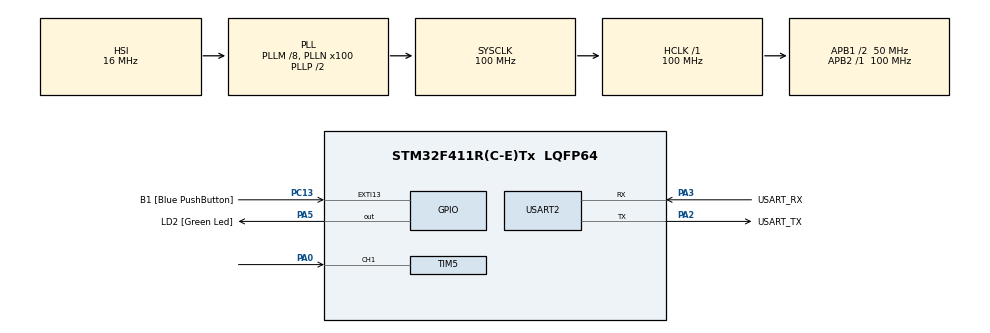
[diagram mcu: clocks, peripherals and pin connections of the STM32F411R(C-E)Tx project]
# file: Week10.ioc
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Mcu.Family=STM32F4
PC15-OSC32_OUT.Mode=LSE-External-Oscillator
VP_TIM5_VS_ClockSourceINT.Mode=Internal
RCC.CortexFreq_Value=100000000
PC13-ANTI_TAMP.GPIO_Label=B1 [Blue PushButton]
PA14.GPIO_Label=TCK
PH1\ -\ OSC_OUT.Mode=HSE-External-Clock-Source
RCC.APB1CLKDivider=RCC_HCLK_DIV2
PC14-OSC32_IN.Signal=RCC_OSC32_IN
NVIC.USART2_IRQn=true\:0\:0\:false\:false\:true\:true\:true
RCC.SYSCLKSource=RCC_SYSCLKSOURCE_PLLCLK
ProjectManager.StackSize=0x400
PA0-WKUP.Signal=S_TIM5_CH1
PA13.Signal=SYS_JTMS-SWDIO
PA3.Mode=Asynchronous
PH0\ -\ OSC_IN.Mode=HSE-External-Clock-Source
PH0\ -\ OSC_IN.Signal=RCC_OSC_IN
ProjectManager.TargetToolchain=STM32CubeIDE
NVIC.TIM5_IRQn=true\:0\:0\:false\:false\:true\:true\:true
RCC.HCLKFreq_Value=100000000
RCC.APB2TimFreq_Value=100000000
PC15-OSC32_OUT.Signal=RCC_OSC32_OUT
RCC.AHBFreq_Value=100000000
PA5.Signal=GPIO_Output
RCC.HSE_VALUE=8000000
PH1\ -\ OSC_OUT.Signal=RCC_OSC_OUT
board=NUCLEO-F411RE
PC13-ANTI_TAMP.Signal=GPXTI13
RCC.VCOOutputFreq_Value=200000000
RCC.APB2Freq_Value=100000000
PC14-OSC32_IN.Mode=LSE-External-Oscillator
PA14.Mode=Serial_Wire
PA13.Mode=Serial_Wire
TIM5.Channel-Input_Capture1_from_TI1=TIM_CHANNEL_1
Mcu.Name=STM32F411R(C-E)Tx
PA2.Signal=USART2_TX
PA13.GPIO_Label=TMS
RCC.FLatency-AdvancedSettings=FLASH_LATENCY_3
RCC.48MHZClocksFreq_Value=50000000
PB3.Signal=SYS_JTDO-SWO
RCC.SYSCLKFreq_VALUE=100000000
Mcu.Package=LQFP64
PA5.GPIO_Label=LD2 [Green Led]
TIM5.Prescaler=99
USART2.VirtualMode=VM_ASYNC
PC13-ANTI_TAMP.GPIO_ModeDefaultEXTI=GPIO_MODE_IT_FALLING
PA2.GPIO_Label=USART_TX
PA14.Signal=SYS_JTCK-SWCLK
ProjectManager.HeapSize=0x200
RCC.HSI_VALUE=16000000
NVIC.PriorityGroup=NVIC_PRIORITYGROUP_0
RCC.PLLM=8
RCC.PLLN=100
RCC.APB1TimFreq_Value=100000000
PA2.Mode=Asynchronous
SH.S_TIM5_CH1.0=TIM5_CH1,Input_Capture1_from_TI1
RCC.APB1Freq_Value=50000000
PA3.GPIO_Label=USART_RX
PA3.Signal=USART2_RX
PB3.GPIO_Label=SWO

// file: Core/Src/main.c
/* USER CODE BEGIN Header */
/**
  ******************************************************************************
  * @file           : main.c
  * @brief          : Main program body
  ******************************************************************************
  * @attention
  *
  * <h2><center>&copy; Copyright (c) 2021 STMicroelectronics.
  * All rights reserved.</center></h2>
  *
  * This software component is licensed by ST under BSD 3-Clause license,
  * the "License"; You may not use this file except in compliance with the
  * License. You may obtain a copy of the License at:
  *                        opensource.org/licenses/BSD-3-Clause
  *
  ******************************************************************************
  */
/* USER CODE END Header */
#include "main.h"

/* USER CODE BEGIN Includes */
#include <stdio.h>
#include <string.h>
/* USER CODE END Includes */

TIM_HandleTypeDef htim5;

UART_HandleTypeDef huart2;

/* USER CODE BEGIN PV */
char TxDataBuffer[32] =
{ 0 };
char RxDataBuffer[32] =
{ 0 };
char ButtonStatus[32] =
{ 0 };

char button[] = " x. Back \r\n Button is pressed\r\n\r\n";
char unbutton[] = " x. Back \r\n Button is unpressed\r\n\r\n";
char off[] = " LED is stop working\r\n\r\n";
char on[] = " LED is start working\r\n\r\n";
char state = '0';

char error[] = "Wrong Input\r\n\r\n";
int Input = 0;
int firsttime = 0;
int Working = 1;
int frequency = 10;

int16_t inputchar = -1;
int16_t lastinputchar = -1;

uint64_t timestamp = 0;
uint64_t _micros = 0;

GPIO_PinState User_Button[2];
/* USER CODE END PV */

void SystemClock_Config(void);
static void MX_GPIO_Init(void);
static void MX_USART2_UART_Init(void);
static void MX_TIM5_Init(void);
/* USER CODE BEGIN PFP */
//void UARTRecieveAndResponsePolling();
int16_t UARTRecieveIT();
uint64_t micros();
/* USER CODE END PFP */

int main(void)
{

  /* MCU Configuration--------------------------------------------------------*/

  /* Reset of all peripherals, Initializes the Flash interface and the Systick. */
  HAL_Init();

  /* Configure the system clock */
  SystemClock_Config();

  /* Initialize all configured peripherals */
  MX_GPIO_Init();
  MX_USART2_UART_Init();
  MX_TIM5_Init();
  /* USER CODE BEGIN 2 */
  HAL_TIM_Base_Start_IT(&htim5);
  {
	  char temp[]="NOW LOADING... \r\nLAB9 is now operating \r\n\r\n";
	  HAL_UART_Transmit(&huart2, (uint8_t*)temp, strlen(temp),1000);
  }
  /* USER CODE END 2 */

  /* Infinite loop */
  /* USER CODE BEGIN WHILE */
  while (1)
  {
	  if(micros()-timestamp > (1000000/(2*frequency)) && Working)
	  {
		  timestamp = micros();
		  if(frequency != 0)
		  {
			  HAL_GPIO_TogglePin(LD2_GPIO_Port,LD2_Pin);
		  }
	  }
	  if(Working == 0)
	  {
		  HAL_GPIO_WritePin(LD2_GPIO_Port,LD2_Pin, GPIO_PIN_RESET);
	  }
	  /*Method 1 Polling Mode*/

	  //UARTRecieveAndResponsePolling();

	  		/*Method 2 Interrupt Mode*/
	  char Frequencyline[] = "Frequency is";
	  HAL_UART_Receive_IT(&huart2,  (uint8_t*)RxDataBuffer, 32);

	  		/*Method 2 W/ 1 Char Received*/
	  int16_t inputchar = UARTRecieveIT();
	  if(inputchar!= -1)
	  {

	  	sprintf(TxDataBuffer, "ReceivedChar:[%c]\r\n\r\n", inputchar);
	  	HAL_UART_Transmit(&huart2, (uint8_t*)TxDataBuffer, strlen(TxDataBuffer), 1000);
	  	Input = 1;
	  }
	  else
	  {
		  Input = 0;
	  }

	  		/*This section just simmulate Work Load*/
	  //HAL_Delay(100);
	  //HAL_GPIO_TogglePin(LD2_GPIO_Port, LD2_Pin);

	  switch(state)
	  {
	  	  case '0': //0 start
	  	  {
	  		char temp[] = " 0. LED Control \r\n 1. Button Status\r\n\r\n";
	  		HAL_UART_Transmit(&huart2, (uint8_t*)temp, strlen(temp),1000);
	  		state = '1'; //1 selectMode
	  	  }
	  	  break;
	  	  case '1': //1 selectMode
	  	  {
	  		  switch(inputchar)
	  		  {
	  		  	  case '0'://LED Control
	  		  	  {
	  		  		  char temp[] = " a. Speed up \r\n s. Speed down\r\n d. On/Off\r\n x. Back\r\n\r\n";
	  		  		  HAL_UART_Transmit(&huart2, (uint8_t*)temp, strlen(temp),1000);
	  		  		  state = '2';//LED Control state
	  		  		  break;
	  		  	  }
	  		  	  case '1'://Button Status
	  		  	  {
	  		  		  state = '3';//Button Status state
	  		  		  firsttime = 0;
	  		  		  break;
	  		  	  }
	  		  	  default:
	  		  		  if(Input != 0)
	  		  		  {
	  		  			  HAL_UART_Transmit(&huart2, (uint8_t*)error, strlen(error),1000);
	  		  			  state = '0';//start
	  		  		  }
	  		  		  break;
	  		  }
	  	  }
	  	  break;
	  	  case '2'://LED Control state
	  	  {
	  		  switch(inputchar)
	  		  {
	  		  	  case 'a': //speed up
	  		  	  case 'A':
	  		  	  {
	  		  		  if(frequency < 20)
	  		  		  {
	  		  			  frequency += 1;
	  		  		  }
	  		  		  sprintf(Frequencyline, "Frequency is [%d] Hz\r\n\r\n", frequency);
	  		  		  HAL_UART_Transmit(&huart2, (uint8_t*)Frequencyline, strlen(Frequencyline),1000);
	  		  		  char Frequencyline[32] = { 0 };
	  		  		  break;
	  		  	  }
	  		  	  break;
	  		  	  case 's': //speed down
	  		  	  case 'S':
	  		  	  {
	  		  		  if(frequency > 0)
	  		  		  {
		  		  		  frequency += -1;
	  		  		  }
	  		  		  sprintf(Frequencyline, "Frequency is [%d] Hz\r\n\r\n", frequency);
	  		  		  HAL_UART_Transmit(&huart2, (uint8_t*)Frequencyline, strlen(Frequencyline),1000);
	  		  		  break;
	  		  	  }
	  		  	  break;
	  		  	  case 'd': //on off
	  		  	  case 'D':
	  		  	  {
	  		  		  if(Working)
	  		  		  {
	  		  			  Working = 0;
	  		  			  HAL_UART_Transmit(&huart2, (uint8_t*)off, strlen(off),1000);
	  		  		  }
	  		  		  else
	  		  		  {
	  		  			  Working = 1;
	  		  			  HAL_UART_Transmit(&huart2, (uint8_t*)on, strlen(on),1000);
	  		  		  }
	  		  		  break;
	   		  	  }
	  		  	  break;
	  		  	  case 'x': //back
	  		  	  case 'X':
	  		  	  {
	  		  		  state = '0';//start
	  		  		  break;
	  		  	  }
	  		  	  default:
	  		  		  if(Input != 0)
	  		  		  {
	  		  			  char temp[] = " a. Speed up \r\n s. Speed down\r\n d. On/Off\r\n x. Back\r\n\r\n";
	  		  			  HAL_UART_Transmit(&huart2, (uint8_t*)error, strlen(error),1000);
	  		  			  HAL_UART_Transmit(&huart2, (uint8_t*)temp, strlen(temp),1000);
	  		  		  }
	  		  		  break;
	  		  }
	  	  }
	  	  break;
	  	  case '3'://Button Status state
	  	  {
	  		  User_Button[0] = HAL_GPIO_ReadPin(GPIOC, GPIO_PIN_13);
	  		  if(User_Button[1] != User_Button[0])
	  		  {
	  			  firsttime = 0;
	  		  }
	  		  User_Button[1] = User_Button[0];
	  		  if(HAL_GPIO_ReadPin(GPIOC, GPIO_PIN_13) == GPIO_PIN_RESET && firsttime == 0)
	  		  {
	  			  HAL_UART_Transmit(&huart2, (uint8_t*)button, strlen(button),1000);
	  			  firsttime += 1;
	  		  }
	  		  else if(HAL_GPIO_ReadPin(GPIOC, GPIO_PIN_13) == GPIO_PIN_SET && firsttime == 0)
	  		  {
	  			  HAL_UART_Transmit(&huart2, (uint8_t*)unbutton, strlen(unbutton),1000);
	  			  firsttime += 1;
	  		  }
	  		  switch(inputchar)
	  		  {
				case 'x': //back
				case 'X':
	  			{
	  				state = '0';//start
	  				break;
	  			}
	  			default:
	  				if(Input != 0)
	  				{
	  					HAL_UART_Transmit(&huart2, (uint8_t*)error, strlen(error),1000);
	  					firsttime = 0;
	  				}
	  				break;
	  		  }
	  	  }
	  	  break;
//	  	  case '4'://Press
//	  	  {
//	  		  HAL_UART_Transmit(&huart2, (uint8_t*)error, strlen(error),1000);
//	  		  char button[] = " x. Back \r\n Button is pressed\r\n\r\n";
//	  		  HAL_UART_Transmit(&huart2, (uint8_t*)button, strlen(button),1000);
//	  		  state = '3';
//	  	  }
//	  	  break;
//	  	  case '5'://Unpress
//	  	  {
//	  		  HAL_UART_Transmit(&huart2, (uint8_t*)error, strlen(error),1000);
//	  		  char button[] = " x. Back \r\n Button is unpressed\r\n\r\n";
//	  		  HAL_UART_Transmit(&huart2, (uint8_t*)button, strlen(button),1000);
//	  		  state = '3';
//	  	  }
//	  	  break;

	  }

	  lastinputchar = inputchar;
    /* USER CODE END WHILE */

  }
}

void SystemClock_Config(void)
{
  RCC_OscInitTypeDef RCC_OscInitStruct = {0};
  RCC_ClkInitTypeDef RCC_ClkInitStruct = {0};

  /** Configure the main internal regulator output voltage
  */
  __HAL_RCC_PWR_CLK_ENABLE();
  __HAL_PWR_VOLTAGESCALING_CONFIG(PWR_REGULATOR_VOLTAGE_SCALE1);
  /** Initializes the RCC Oscillators according to the specified parameters
  * in the RCC_OscInitTypeDef structure.
  */
  RCC_OscInitStruct.OscillatorType = RCC_OSCILLATORTYPE_HSI;
  RCC_OscInitStruct.HSIState = RCC_HSI_ON;
  RCC_OscInitStruct.HSICalibrationValue = RCC_HSICALIBRATION_DEFAULT;
  RCC_OscInitStruct.PLL.PLLState = RCC_PLL_ON;
  RCC_OscInitStruct.PLL.PLLSource = RCC_PLLSOURCE_HSI;
  RCC_OscInitStruct.PLL.PLLM = 8;
  RCC_OscInitStruct.PLL.PLLN = 100;
  RCC_OscInitStruct.PLL.PLLP = RCC_PLLP_DIV2;
  RCC_OscInitStruct.PLL.PLLQ = 4;
  if (HAL_RCC_OscConfig(&RCC_OscInitStruct) != HAL_OK)
  {
    Error_Handler();
  }
  /** Initializes the CPU, AHB and APB buses clocks
  */
  RCC_ClkInitStruct.ClockType = RCC_CLOCKTYPE_HCLK|RCC_CLOCKTYPE_SYSCLK
                              |RCC_CLOCKTYPE_PCLK1|RCC_CLOCKTYPE_PCLK2;
  RCC_ClkInitStruct.SYSCLKSource = RCC_SYSCLKSOURCE_PLLCLK;
  RCC_ClkInitStruct.AHBCLKDivider = RCC_SYSCLK_DIV1;
  RCC_ClkInitStruct.APB1CLKDivider = RCC_HCLK_DIV2;
  RCC_ClkInitStruct.APB2CLKDivider = RCC_HCLK_DIV1;

  if (HAL_RCC_ClockConfig(&RCC_ClkInitStruct, FLASH_LATENCY_3) != HAL_OK)
  {
    Error_Handler();
  }
}

static void MX_TIM5_Init(void)
{

  TIM_ClockConfigTypeDef sClockSourceConfig = {0};
  TIM_MasterConfigTypeDef sMasterConfig = {0};
  TIM_IC_InitTypeDef sConfigIC = {0};

  htim5.Instance = TIM5;
  htim5.Init.Prescaler = 99;
  htim5.Init.CounterMode = TIM_COUNTERMODE_UP;
  htim5.Init.Period = 4294967295;
  htim5.Init.ClockDivision = TIM_CLOCKDIVISION_DIV1;
  htim5.Init.AutoReloadPreload = TIM_AUTORELOAD_PRELOAD_DISABLE;
  if (HAL_TIM_Base_Init(&htim5) != HAL_OK)
  {
    Error_Handler();
  }
  sClockSourceConfig.ClockSource = TIM_CLOCKSOURCE_INTERNAL;
  if (HAL_TIM_ConfigClockSource(&htim5, &sClockSourceConfig) != HAL_OK)
  {
    Error_Handler();
  }
  if (HAL_TIM_IC_Init(&htim5) != HAL_OK)
  {
    Error_Handler();
  }
  sMasterConfig.MasterOutputTrigger = TIM_TRGO_RESET;
  sMasterConfig.MasterSlaveMode = TIM_MASTERSLAVEMODE_DISABLE;
  if (HAL_TIMEx_MasterConfigSynchronization(&htim5, &sMasterConfig) != HAL_OK)
  {
    Error_Handler();
  }
  sConfigIC.ICPolarity = TIM_INPUTCHANNELPOLARITY_RISING;
  sConfigIC.ICSelection = TIM_ICSELECTION_DIRECTTI;
  sConfigIC.ICPrescaler = TIM_ICPSC_DIV1;
  sConfigIC.ICFilter = 0;
  if (HAL_TIM_IC_ConfigChannel(&htim5, &sConfigIC, TIM_CHANNEL_1) != HAL_OK)
  {
    Error_Handler();
  }

}

static void MX_USART2_UART_Init(void)
{

  huart2.Instance = USART2;
  huart2.Init.BaudRate = 115200;
  huart2.Init.WordLength = UART_WORDLENGTH_8B;
  huart2.Init.StopBits = UART_STOPBITS_1;
  huart2.Init.Parity = UART_PARITY_NONE;
  huart2.Init.Mode = UART_MODE_TX_RX;
  huart2.Init.HwFlowCtl = UART_HWCONTROL_NONE;
  huart2.Init.OverSampling = UART_OVERSAMPLING_16;
  if (HAL_UART_Init(&huart2) != HAL_OK)
  {
    Error_Handler();
  }

}

static void MX_GPIO_Init(void)
{
  GPIO_InitTypeDef GPIO_InitStruct = {0};

  /* GPIO Ports Clock Enable */
  __HAL_RCC_GPIOC_CLK_ENABLE();
  __HAL_RCC_GPIOH_CLK_ENABLE();
  __HAL_RCC_GPIOA_CLK_ENABLE();
  __HAL_RCC_GPIOB_CLK_ENABLE();

  /*Configure GPIO pin Output Level */
  HAL_GPIO_WritePin(LD2_GPIO_Port, LD2_Pin, GPIO_PIN_RESET);

  /*Configure GPIO pin : B1_Pin */
  GPIO_InitStruct.Pin = B1_Pin;
  GPIO_InitStruct.Mode = GPIO_MODE_IT_FALLING;
  GPIO_InitStruct.Pull = GPIO_NOPULL;
  HAL_GPIO_Init(B1_GPIO_Port, &GPIO_InitStruct);

  /*Configure GPIO pin : LD2_Pin */
  GPIO_InitStruct.Pin = LD2_Pin;
  GPIO_InitStruct.Mode = GPIO_MODE_OUTPUT_PP;
  GPIO_InitStruct.Pull = GPIO_NOPULL;
  GPIO_InitStruct.Speed = GPIO_SPEED_FREQ_LOW;
  HAL_GPIO_Init(LD2_GPIO_Port, &GPIO_InitStruct);

}

/* USER CODE BEGIN 4 */
void HAL_TIM_PeriodElapsedCallback(TIM_HandleTypeDef *htim)
{
	if(htim == &htim5)
	{
		_micros += 4294967295;
	}
}

uint64_t micros()
{
	return (_micros + htim5.Instance->CNT);//counter of Timer 5
}

//void UARTRecieveAndResponsePolling()
//{
//	char Recieve[32]={0};
//
//	HAL_UART_Receive(&huart2, (uint8_t*)Recieve, 32, 1000);
//
//	sprintf(TxDataBuffer, "Received:[%s]\r\n", Recieve);
//	HAL_UART_Transmit(&huart2, (uint8_t*)TxDataBuffer, strlen(TxDataBuffer), 1000);
//
//}

int16_t UARTRecieveIT()
{
	static uint32_t dataPos =0;
	int16_t data=-1;
	if(huart2.RxXferSize - huart2.RxXferCount!=dataPos)
	{
		data = RxDataBuffer[dataPos];
		dataPos= (dataPos+1)%huart2.RxXferSize;
	}
	return data;
}

void HAL_UART_RxCpltCallback(UART_HandleTypeDef *huart)
{
	sprintf(TxDataBuffer, "Received:[%s]\r\n", RxDataBuffer);
	HAL_UART_Transmit(&huart2, (uint8_t*)TxDataBuffer, strlen(TxDataBuffer), 1000);
}
/* USER CODE END 4 */

void Error_Handler(void)
{
  __disable_irq();
  while (1)
  {
  }
}

/************************ (C) COPYRIGHT STMicroelectronics *****END OF FILE****/
